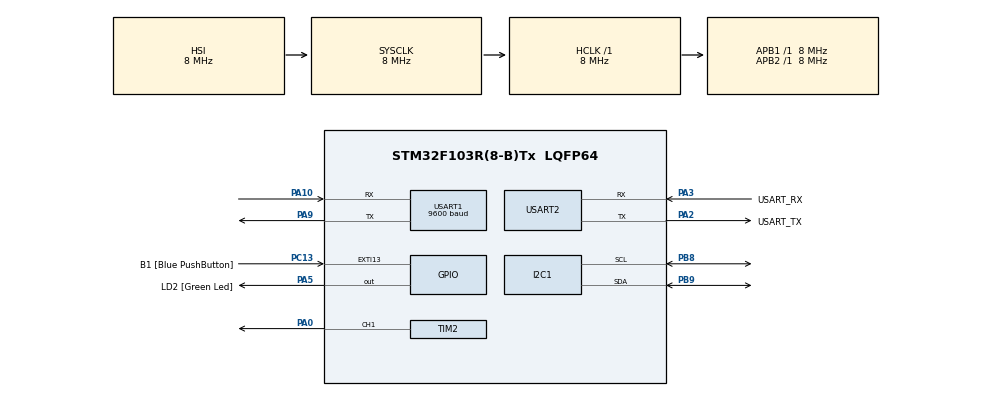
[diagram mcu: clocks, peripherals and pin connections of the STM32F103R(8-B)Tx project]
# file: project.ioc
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Dma.Request0=TIM2_CH1
Dma.TIM2_CH1.0.Direction=DMA_MEMORY_TO_PERIPH
Dma.TIM2_CH1.0.Instance=DMA1_Channel5
Dma.TIM2_CH1.0.MemDataAlignment=DMA_MDATAALIGN_BYTE
Dma.TIM2_CH1.0.MemInc=DMA_MINC_ENABLE
Dma.TIM2_CH1.0.Mode=DMA_NORMAL
Dma.TIM2_CH1.0.PeriphDataAlignment=DMA_PDATAALIGN_HALFWORD
Dma.TIM2_CH1.0.PeriphInc=DMA_PINC_DISABLE
Dma.TIM2_CH1.0.Priority=DMA_PRIORITY_LOW
Mcu.Family=STM32F1
Mcu.Name=STM32F103R(8-B)Tx
Mcu.Package=LQFP64
NVIC.DMA1_Channel5_IRQn=true\:0\:0\:false\:false\:true\:false\:true
NVIC.EXTI15_10_IRQn=true\:0\:0\:false\:false\:true\:true\:true
NVIC.PriorityGroup=NVIC_PRIORITYGROUP_4
NVIC.TIM2_IRQn=true\:0\:0\:false\:false\:true\:true\:true
NVIC.TIM3_IRQn=true\:0\:0\:false\:false\:true\:true\:true
NVIC.USART1_IRQn=true\:1\:0\:true\:false\:true\:true\:true
PA0-WKUP.Signal=S_TIM2_CH1_ETR
PA10.Mode=Asynchronous
PA10.Signal=USART1_RX
PA13.GPIO_Label=TMS
PA13.Mode=Serial_Wire
PA13.Signal=SYS_JTMS-SWDIO
PA14.GPIO_Label=TCK
PA14.Mode=Serial_Wire
PA14.Signal=SYS_JTCK-SWCLK
PA2.GPIO_Label=USART_TX
PA2.GPIO_Mode=GPIO_MODE_AF_PP
PA2.GPIO_PuPd=GPIO_NOPULL
PA2.GPIO_Speed=GPIO_SPEED_FREQ_LOW
PA2.Mode=Asynchronous
PA2.Signal=USART2_TX
PA3.GPIO_Label=USART_RX
PA3.GPIO_Mode=GPIO_MODE_AF_PP
PA3.GPIO_PuPd=GPIO_NOPULL
PA3.GPIO_Speed=GPIO_SPEED_FREQ_LOW
PA3.Mode=Asynchronous
PA3.Signal=USART2_RX
PA5.GPIO_Label=LD2 [Green Led]
PA5.GPIO_ModeDefaultOutputPP=GPIO_MODE_OUTPUT_PP
PA5.GPIO_PuPd=GPIO_NOPULL
PA5.GPIO_Speed=GPIO_SPEED_FREQ_LOW
PA5.Signal=GPIO_Output
PA9.Mode=Asynchronous
PA9.Signal=USART1_TX
PB3.GPIO_Label=SWO
PB3.Signal=SYS_JTDO-TRACESWO
PB8.Mode=I2C
PB8.Signal=I2C1_SCL
PB9.Mode=I2C
PB9.Signal=I2C1_SDA
PC13-TAMPER-RTC.GPIO_Label=B1 [Blue PushButton]
PC13-TAMPER-RTC.GPIO_PuPd=GPIO_NOPULL
PC13-TAMPER-RTC.Signal=GPXTI13
PC14-OSC32_IN.Mode=LSE-External-Oscillator
PC14-OSC32_IN.Signal=RCC_OSC32_IN
PC15-OSC32_OUT.Mode=LSE-External-Oscillator
PC15-OSC32_OUT.Signal=RCC_OSC32_OUT
PD0-OSC_IN.Mode=HSE-External-Clock-Source
PD0-OSC_IN.Signal=RCC_OSC_IN
PD1-OSC_OUT.Mode=HSE-External-Clock-Source
PD1-OSC_OUT.Signal=RCC_OSC_OUT
ProjectManager.HeapSize=0x200
ProjectManager.StackSize=0x400
ProjectManager.TargetToolchain=STM32CubeIDE
RCC.AHBFreq_Value=8000000
RCC.APB1Freq_Value=8000000
RCC.APB1TimFreq_Value=8000000
RCC.APB2Freq_Value=8000000
RCC.APB2TimFreq_Value=8000000
RCC.HCLKFreq_Value=8000000
RCC.RTCClockSelection=RCC_RTCCLKSOURCE_LSE
RCC.SYSCLKFreq_VALUE=8000000
RCC.USBFreq_Value=8000000
SH.S_TIM2_CH1_ETR.0=TIM2_CH1,PWM Generation1 CH1
TIM2.Channel-PWM\ Generation1\ CH1=TIM_CHANNEL_1
TIM2.Period=100-1
TIM2.Prescaler=1-1
TIM3.Period=9
TIM3.Prescaler=7999
USART1.BaudRate=9600
USART1.VirtualMode=VM_ASYNC
USART2.VirtualMode=VM_ASYNC
VP_TIM2_VS_ClockSourceINT.Mode=Internal
VP_TIM3_VS_ClockSourceINT.Mode=Internal
board=NUCLEO-F103RB

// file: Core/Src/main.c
/* USER CODE BEGIN Header */
/**
  ******************************************************************************
  * @file           : main.c
  * @brief          : Main program body
  ******************************************************************************
  * @attention
  *
  * <h2><center>&copy; Copyright (c) 2024 STMicroelectronics.
  * All rights reserved.</center></h2>
  *
  * This software component is licensed by ST under BSD 3-Clause license,
  * the "License"; You may not use this file except in compliance with the
  * License. You may obtain a copy of the License at:
  *                        opensource.org/licenses/BSD-3-Clause
  *
  ******************************************************************************
  */
/* USER CODE END Header */
#include "main.h"

/* USER CODE BEGIN Includes */
#include "global.h"
/* USER CODE END Includes */

I2C_HandleTypeDef hi2c1;

TIM_HandleTypeDef htim2;
TIM_HandleTypeDef htim3;
DMA_HandleTypeDef hdma_tim2_ch1;

UART_HandleTypeDef huart1;
UART_HandleTypeDef huart2;

void SystemClock_Config(void);
static void MX_GPIO_Init(void);
static void MX_USART2_UART_Init(void);
static void MX_DMA_Init(void);
static void MX_TIM2_Init(void);
static void MX_I2C1_Init(void);
static void MX_TIM3_Init(void);
static void MX_USART1_UART_Init(void);

int main(void)
{

  /* MCU Configuration--------------------------------------------------------*/

  /* Reset of all peripherals, Initializes the Flash interface and the Systick. */
  HAL_Init();

  /* Configure the system clock */
  SystemClock_Config();

  /* Initialize all configured peripherals */
  MX_GPIO_Init();
  MX_USART2_UART_Init();
  MX_DMA_Init();
  MX_TIM2_Init();
  MX_I2C1_Init();
  MX_TIM3_Init();
  MX_USART1_UART_Init();
  /* USER CODE BEGIN 2 */
  HAL_TIM_Base_Start_IT(&htim3);
  /* USER CODE END 2 */

  /* Infinite loop */
  /* USER CODE BEGIN WHILE */
  RGB_Init();
  lcd_init();
  SCH_Init();
  SCH_Add_Task(handleDisplay, 0, 6000);
  SCH_Add_Task(ledBlinky, 20, 1000);
  SCH_Add_Task(display_data, 6000, 5000);
  SCH_Add_Task(sendDataFromSTMToESP, 6100, 5000);
  SCH_Add_Task(RGBAuto, 6200, 1000);

  while (1)
  {
	  SCH_Dispatch_Tasks();
	  if(flag_HandleDisplay){
		  SCH_Delete(0);
		  flag_HandleDisplay = false;
	  }

    /* USER CODE END WHILE */

  }
}

void SystemClock_Config(void)
{
  RCC_OscInitTypeDef RCC_OscInitStruct = {0};
  RCC_ClkInitTypeDef RCC_ClkInitStruct = {0};

  /** Initializes the RCC Oscillators according to the specified parameters
  * in the RCC_OscInitTypeDef structure.
  */
  RCC_OscInitStruct.OscillatorType = RCC_OSCILLATORTYPE_HSI;
  RCC_OscInitStruct.HSIState = RCC_HSI_ON;
  RCC_OscInitStruct.HSICalibrationValue = RCC_HSICALIBRATION_DEFAULT;
  RCC_OscInitStruct.PLL.PLLState = RCC_PLL_NONE;
  if (HAL_RCC_OscConfig(&RCC_OscInitStruct) != HAL_OK)
  {
    Error_Handler();
  }
  /** Initializes the CPU, AHB and APB buses clocks
  */
  RCC_ClkInitStruct.ClockType = RCC_CLOCKTYPE_HCLK|RCC_CLOCKTYPE_SYSCLK
                              |RCC_CLOCKTYPE_PCLK1|RCC_CLOCKTYPE_PCLK2;
  RCC_ClkInitStruct.SYSCLKSource = RCC_SYSCLKSOURCE_HSI;
  RCC_ClkInitStruct.AHBCLKDivider = RCC_SYSCLK_DIV1;
  RCC_ClkInitStruct.APB1CLKDivider = RCC_HCLK_DIV1;
  RCC_ClkInitStruct.APB2CLKDivider = RCC_HCLK_DIV1;

  if (HAL_RCC_ClockConfig(&RCC_ClkInitStruct, FLASH_LATENCY_0) != HAL_OK)
  {
    Error_Handler();
  }
}

static void MX_I2C1_Init(void)
{

  hi2c1.Instance = I2C1;
  hi2c1.Init.ClockSpeed = 100000;
  hi2c1.Init.DutyCycle = I2C_DUTYCYCLE_2;
  hi2c1.Init.OwnAddress1 = 0;
  hi2c1.Init.AddressingMode = I2C_ADDRESSINGMODE_7BIT;
  hi2c1.Init.DualAddressMode = I2C_DUALADDRESS_DISABLE;
  hi2c1.Init.OwnAddress2 = 0;
  hi2c1.Init.GeneralCallMode = I2C_GENERALCALL_DISABLE;
  hi2c1.Init.NoStretchMode = I2C_NOSTRETCH_DISABLE;
  if (HAL_I2C_Init(&hi2c1) != HAL_OK)
  {
    Error_Handler();
  }

}

static void MX_TIM2_Init(void)
{

  TIM_ClockConfigTypeDef sClockSourceConfig = {0};
  TIM_MasterConfigTypeDef sMasterConfig = {0};
  TIM_OC_InitTypeDef sConfigOC = {0};

  htim2.Instance = TIM2;
  htim2.Init.Prescaler = 1-1;
  htim2.Init.CounterMode = TIM_COUNTERMODE_UP;
  htim2.Init.Period = 100-1;
  htim2.Init.ClockDivision = TIM_CLOCKDIVISION_DIV1;
  htim2.Init.AutoReloadPreload = TIM_AUTORELOAD_PRELOAD_DISABLE;
  if (HAL_TIM_Base_Init(&htim2) != HAL_OK)
  {
    Error_Handler();
  }
  sClockSourceConfig.ClockSource = TIM_CLOCKSOURCE_INTERNAL;
  if (HAL_TIM_ConfigClockSource(&htim2, &sClockSourceConfig) != HAL_OK)
  {
    Error_Handler();
  }
  if (HAL_TIM_PWM_Init(&htim2) != HAL_OK)
  {
    Error_Handler();
  }
  sMasterConfig.MasterOutputTrigger = TIM_TRGO_RESET;
  sMasterConfig.MasterSlaveMode = TIM_MASTERSLAVEMODE_DISABLE;
  if (HAL_TIMEx_MasterConfigSynchronization(&htim2, &sMasterConfig) != HAL_OK)
  {
    Error_Handler();
  }
  sConfigOC.OCMode = TIM_OCMODE_PWM1;
  sConfigOC.Pulse = 0;
  sConfigOC.OCPolarity = TIM_OCPOLARITY_HIGH;
  sConfigOC.OCFastMode = TIM_OCFAST_DISABLE;
  if (HAL_TIM_PWM_ConfigChannel(&htim2, &sConfigOC, TIM_CHANNEL_1) != HAL_OK)
  {
    Error_Handler();
  }
  HAL_TIM_MspPostInit(&htim2);

}

static void MX_TIM3_Init(void)
{

  TIM_ClockConfigTypeDef sClockSourceConfig = {0};
  TIM_MasterConfigTypeDef sMasterConfig = {0};

  htim3.Instance = TIM3;
  htim3.Init.Prescaler = 7999;
  htim3.Init.CounterMode = TIM_COUNTERMODE_UP;
  htim3.Init.Period = 9;
  htim3.Init.ClockDivision = TIM_CLOCKDIVISION_DIV1;
  htim3.Init.AutoReloadPreload = TIM_AUTORELOAD_PRELOAD_DISABLE;
  if (HAL_TIM_Base_Init(&htim3) != HAL_OK)
  {
    Error_Handler();
  }
  sClockSourceConfig.ClockSource = TIM_CLOCKSOURCE_INTERNAL;
  if (HAL_TIM_ConfigClockSource(&htim3, &sClockSourceConfig) != HAL_OK)
  {
    Error_Handler();
  }
  sMasterConfig.MasterOutputTrigger = TIM_TRGO_RESET;
  sMasterConfig.MasterSlaveMode = TIM_MASTERSLAVEMODE_DISABLE;
  if (HAL_TIMEx_MasterConfigSynchronization(&htim3, &sMasterConfig) != HAL_OK)
  {
    Error_Handler();
  }

}

static void MX_USART1_UART_Init(void)
{

  huart1.Instance = USART1;
  huart1.Init.BaudRate = 9600;
  huart1.Init.WordLength = UART_WORDLENGTH_8B;
  huart1.Init.StopBits = UART_STOPBITS_1;
  huart1.Init.Parity = UART_PARITY_NONE;
  huart1.Init.Mode = UART_MODE_TX_RX;
  huart1.Init.HwFlowCtl = UART_HWCONTROL_NONE;
  huart1.Init.OverSampling = UART_OVERSAMPLING_16;
  if (HAL_UART_Init(&huart1) != HAL_OK)
  {
    Error_Handler();
  }

}

static void MX_USART2_UART_Init(void)
{

  huart2.Instance = USART2;
  huart2.Init.BaudRate = 115200;
  huart2.Init.WordLength = UART_WORDLENGTH_8B;
  huart2.Init.StopBits = UART_STOPBITS_1;
  huart2.Init.Parity = UART_PARITY_NONE;
  huart2.Init.Mode = UART_MODE_TX_RX;
  huart2.Init.HwFlowCtl = UART_HWCONTROL_NONE;
  huart2.Init.OverSampling = UART_OVERSAMPLING_16;
  if (HAL_UART_Init(&huart2) != HAL_OK)
  {
    Error_Handler();
  }

}

static void MX_DMA_Init(void)
{

  /* DMA controller clock enable */
  __HAL_RCC_DMA1_CLK_ENABLE();

  /* DMA interrupt init */
  /* DMA1_Channel5_IRQn interrupt configuration */
  HAL_NVIC_SetPriority(DMA1_Channel5_IRQn, 0, 0);
  HAL_NVIC_EnableIRQ(DMA1_Channel5_IRQn);

}

static void MX_GPIO_Init(void)
{
  GPIO_InitTypeDef GPIO_InitStruct = {0};

  /* GPIO Ports Clock Enable */
  __HAL_RCC_GPIOC_CLK_ENABLE();
  __HAL_RCC_GPIOD_CLK_ENABLE();
  __HAL_RCC_GPIOA_CLK_ENABLE();
  __HAL_RCC_GPIOB_CLK_ENABLE();

  /*Configure GPIO pin Output Level */
  HAL_GPIO_WritePin(LD2_GPIO_Port, LD2_Pin, GPIO_PIN_RESET);

  /*Configure GPIO pin : B1_Pin */
  GPIO_InitStruct.Pin = B1_Pin;
  GPIO_InitStruct.Mode = GPIO_MODE_IT_RISING;
  GPIO_InitStruct.Pull = GPIO_NOPULL;
  HAL_GPIO_Init(B1_GPIO_Port, &GPIO_InitStruct);

  /*Configure GPIO pin : LD2_Pin */
  GPIO_InitStruct.Pin = LD2_Pin;
  GPIO_InitStruct.Mode = GPIO_MODE_OUTPUT_PP;
  GPIO_InitStruct.Pull = GPIO_NOPULL;
  GPIO_InitStruct.Speed = GPIO_SPEED_FREQ_LOW;
  HAL_GPIO_Init(LD2_GPIO_Port, &GPIO_InitStruct);

  /* EXTI interrupt init*/
  HAL_NVIC_SetPriority(EXTI15_10_IRQn, 0, 0);
  HAL_NVIC_EnableIRQ(EXTI15_10_IRQn);

}

/* USER CODE BEGIN 4 */
void HAL_TIM_PeriodElapsedCallback(TIM_HandleTypeDef *htim){
//	if(htim->Instance == TIM3)
	SCH_Update();
}
/* USER CODE END 4 */

void Error_Handler(void)
{
  __disable_irq();
  while (1)
  {
  }
}

/************************ (C) COPYRIGHT STMicroelectronics *****END OF FILE****/
